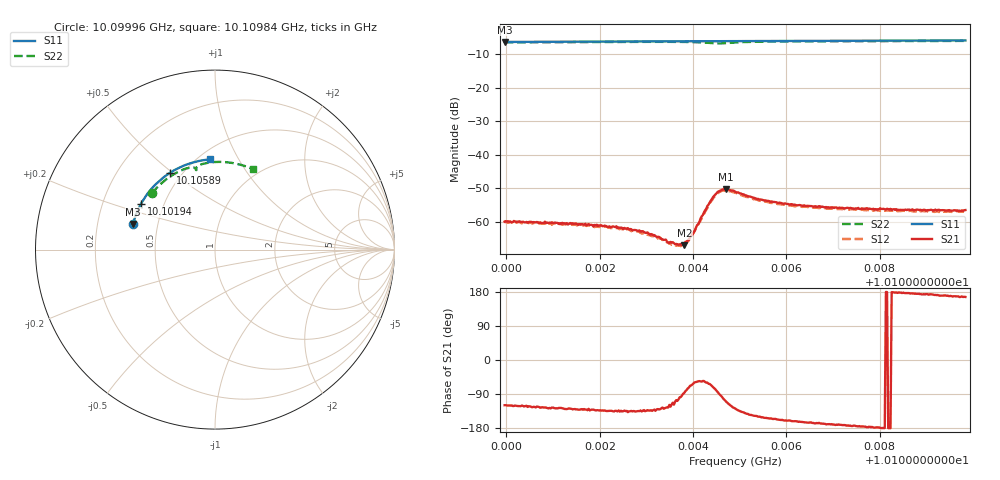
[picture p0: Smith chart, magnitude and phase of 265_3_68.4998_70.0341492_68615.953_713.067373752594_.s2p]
#  HZ  S  RI  R  50.00
! Rohde & Schwarz Vector Network Analyzer
! Rohde-Schwarz,ZNB20-2Port,1311601062101988,3.16
! Created: UTC 3/20/2024, 5:00:26 PM
! freq[Hz]  re:S11  im:S11  re:S21  im:S21  re:S12  im:S12  re:S22  im:S22
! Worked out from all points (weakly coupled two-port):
!   401 points, 10.09996 GHz to 10.10984 GHz, reference 50 ohm
!   highest |S21| = -50.26 dB at 10.1047 GHz (marker M1); lowest = -67.1 dB at 10.10381 GHz (marker M2)
!   lowest |S11| = -6.4 dB at 10.09996 GHz (marker M3), VSWR 2.83, Z = 18 + j6.7 ohm
!   |S11| at or under -10 dB: nowhere
!   |S22| runs from -6.8 to -6.1 dB; largest |S21 - S12| = 0.00031
!   S11 on the Smith chart (normalised r, x): 10.09996 GHz: 0.36, +0.13; 10.10194 GHz: 0.37, +0.25; 10.10589 GHz: 0.43, +0.49; 10.10984 GHz: 0.57, +0.77
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1.0099961e10  -0.4562 0.1433  -0.000491 -0.000873  -0.000416 -0.000891  -0.3512 0.3136
1.0101615e10  -0.4214 0.2377  -0.00059 -0.000713  -0.000501 -0.000712  -0.2752 0.3886
1.0101936e10  -0.4123 0.2551  -0.000609 -0.000664  -0.000518 -0.000657  -0.2584 0.4011
1.0102109e10  -0.4071 0.2643  -0.000599 -0.000638  -0.000538 -0.000647  -0.2492 0.4074
1.0102775e10  -0.3853 0.2985  -0.000538 -0.000521  -0.000473 -0.000545  -0.2115 0.43
1.0102973e10  -0.3785 0.3082  -0.000487 -0.000484  -0.000441 -0.0005  -0.1999 0.4359
1.0103269e10  -0.3675 0.3225  -0.000384 -0.000452  -0.000336 -0.000485  -0.1814 0.4442
1.010359e10  -0.355 0.3375  -0.000224 -0.000423  -0.000139 -0.000421  -0.1603 0.4521
1.0103763e10  -0.3481 0.3453  -2.81e-05 -0.000447  1.24e-05 -0.000455  -0.1482 0.4553
1.0103812e10  -0.3461 0.3474  2.61e-05 -0.000442  7.87e-05 -0.000426  -0.1447 0.4561
1.0103862e10  -0.3441 0.3496  9.38e-05 -0.000486  0.000126 -0.000463  -0.1409 0.4569
1.0103985e10  -0.339 0.3552  0.000273 -0.000576  0.000343 -0.000551  -0.1316 0.4579
1.0104281e10  -0.3262 0.3679  0.000786 -0.00134  0.000882 -0.00121  -0.1091 0.4539
1.0104429e10  -0.3197 0.3741  0.000732 -0.00222  0.000883 -0.00206  -0.1027 0.447
1.0104578e10  -0.3131 0.3799  -9.89e-05 -0.0029  0.000139 -0.0028  -0.1046 0.443
1.0104701e10  -0.3077 0.3849  -0.000978 -0.00291  -0.000673 -0.00285  -0.107 0.447
1.0104899e10  -0.2986 0.3926  -0.00173 -0.00222  -0.0015 -0.00226  -0.1019 0.4589
1.0105392e10  -0.2751 0.4111  -0.00189 -0.00111  -0.00169 -0.00124  -0.07 0.4767
1.0105886e10  -0.2503 0.4281  -0.00176 -0.000699  -0.00162 -0.000811  -0.0365 0.4844
1.0106553e10  -0.2154 0.4483  -0.00165 -0.000408  -0.00156 -0.000545  0.00748 0.4885
1.0108207e10  -0.1227 0.4855  -0.00153 -4.04e-06  -0.00146 -0.00012  0.1138 0.4793
1.0109836e10  -0.0257 0.5027  -0.00145 0.000351  -0.0014 0.00018  0.2128 0.4478
